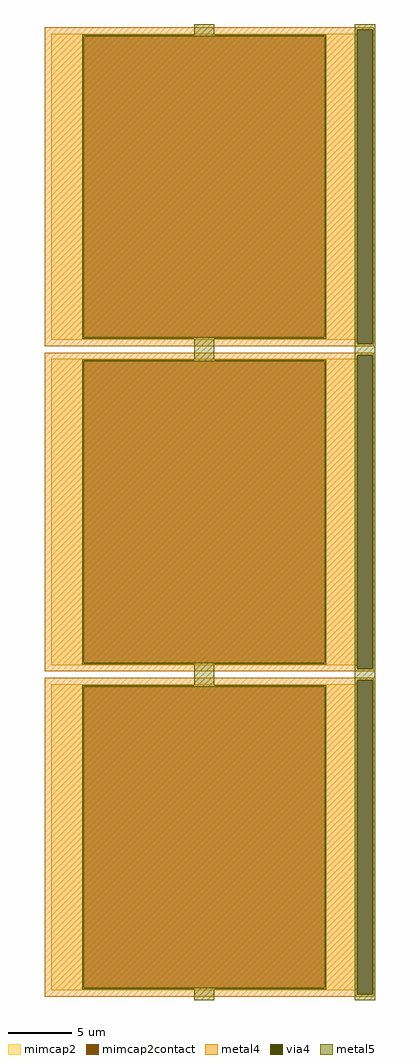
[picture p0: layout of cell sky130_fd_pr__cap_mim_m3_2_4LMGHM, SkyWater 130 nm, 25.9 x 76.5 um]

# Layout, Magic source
magic
tech sky130A
magscale 1 2
<< metal4 >>
rect -2579 7559 2579 7600
rect -2579 2641 2323 7559
rect 2559 2641 2579 7559
rect -2579 2600 2579 2641
rect -2579 2459 2579 2500
rect -2579 -2459 2323 2459
rect 2559 -2459 2579 2459
rect -2579 -2500 2579 -2459
rect -2579 -2641 2579 -2600
rect -2579 -7559 2323 -2641
rect 2559 -7559 2579 -2641
rect -2579 -7600 2579 -7559
<< via4 >>
rect 2323 2641 2559 7559
rect 2323 -2459 2559 2459
rect 2323 -7559 2559 -2641
<< mimcap2 >>
rect -2479 7460 2321 7500
rect -2479 2740 -1967 7460
rect 1809 2740 2321 7460
rect -2479 2700 2321 2740
rect -2479 2360 2321 2400
rect -2479 -2360 -1967 2360
rect 1809 -2360 2321 2360
rect -2479 -2400 2321 -2360
rect -2479 -2740 2321 -2700
rect -2479 -7460 -1967 -2740
rect 1809 -7460 2321 -2740
rect -2479 -7500 2321 -7460
<< mimcap2contact >>
rect -1967 2740 1809 7460
rect -1967 -2360 1809 2360
rect -1967 -7460 1809 -2740
<< metal5 >>
rect -239 7484 81 7650
rect 2281 7559 2601 7650
rect -1991 7460 1833 7484
rect -1991 2740 -1967 7460
rect 1809 2740 1833 7460
rect -1991 2716 1833 2740
rect -239 2384 81 2716
rect 2281 2641 2323 7559
rect 2559 2641 2601 7559
rect 2281 2459 2601 2641
rect -1991 2360 1833 2384
rect -1991 -2360 -1967 2360
rect 1809 -2360 1833 2360
rect -1991 -2384 1833 -2360
rect -239 -2716 81 -2384
rect 2281 -2459 2323 2459
rect 2559 -2459 2601 2459
rect 2281 -2641 2601 -2459
rect -1991 -2740 1833 -2716
rect -1991 -7460 -1967 -2740
rect 1809 -7460 1833 -2740
rect -1991 -7484 1833 -7460
rect -239 -7650 81 -7484
rect 2281 -7559 2323 -2641
rect 2559 -7559 2601 -2641
rect 2281 -7650 2601 -7559
<< properties >>
string gencell sky130_fd_pr__cap_mim_m3_2
string FIXED_BBOX -2579 2600 2421 7600
string parameters w 24 l 24 val 1.17k carea 2.00 cperi 0.19 nx 1 ny 3 dummy 0 square 0 lmin 2.00 wmin 2.00 lmax 30.0 wmax 30.0 dc 0 bconnect 1 tconnect 1 ccov 80
string library sky130
<< end >>
